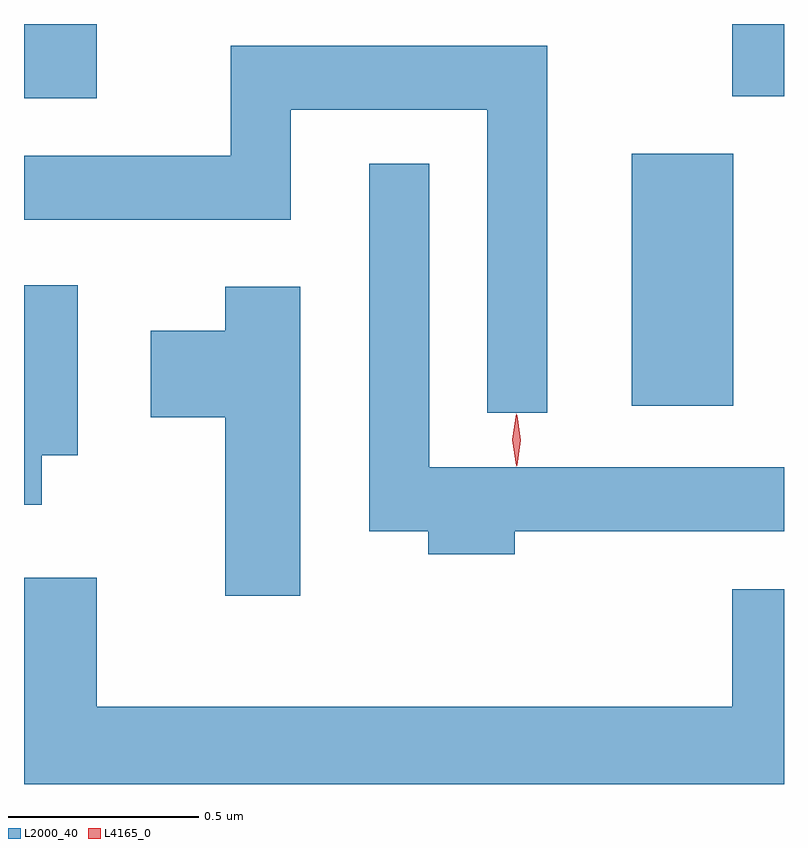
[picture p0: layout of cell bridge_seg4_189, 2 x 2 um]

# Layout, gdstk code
import gdstk
lib = gdstk.Library(unit=1e-6, precision=1e-09)
def R(c, l, rs):  # rectangles x0, y0, x1, y1
    for r in rs: c.add(gdstk.rectangle(r[:2], r[2:], *l))
def P(c, l, *ps):  # polygons
    for p in ps: c.add(gdstk.Polygon(p, *l))
L2000_40 = (2000, 40)
L4165_0 = (4165, 0)

bridge_seg4_189 = lib.new_cell('bridge_seg4_189')
R(bridge_seg4_189, L2000_40, [(1040.726,1313.556,1040.994,1314.219), (1039.127,1314.366,1039.319,1314.561), (1040.991,1314.371,1041.127,1314.561)])
P(bridge_seg4_189, L2000_40, [(1040.504,1314.504),(1039.671,1314.504),(1039.671,1314.214),(1039.127,1314.214),(1039.127,1314.046),(1039.829,1314.046),(1039.829,1314.336),(1040.346,1314.336),(1040.346,1313.538),(1040.504,1313.538)],
  [(1040.419,1313.226),(1041.127,1313.226),(1041.127,1313.394),(1040.194,1313.394),(1040.194,1314.193),(1040.036,1314.193),(1040.036,1313.226),(1040.191,1313.226),(1040.191,1313.166),(1040.419,1313.166)],
  [(1039.174,1313.426),(1039.269,1313.426),(1039.269,1313.874),(1039.127,1313.874),(1039.127,1313.296),(1039.174,1313.296)],
  [(1039.854,1313.869),(1039.656,1313.869),(1039.656,1313.754),(1039.461,1313.754),(1039.461,1313.526),(1039.656,1313.526),(1039.656,1313.056),(1039.854,1313.056)],
  [(1041.127,1313.074),(1040.991,1313.074),(1040.991,1312.764),(1039.319,1312.764),(1039.319,1313.104),(1039.127,1313.104),(1039.127,1312.561),(1041.127,1312.561)])
P(bridge_seg4_189, L4165_0, [(1040.422,1313.397),(1040.422,1313.398),(1040.412,1313.467),(1040.422,1313.536),(1040.422,1313.536),(1040.423,1313.536),(1040.432,1313.467),(1040.423,1313.398)],
  [(1040.425,1313.399),(1040.424,1313.4),(1040.415,1313.466),(1040.424,1313.532),(1040.424,1313.533),(1040.425,1313.532),(1040.434,1313.466),(1040.425,1313.4)])

lib.write_gds('bridge_seg4_189.gds')
